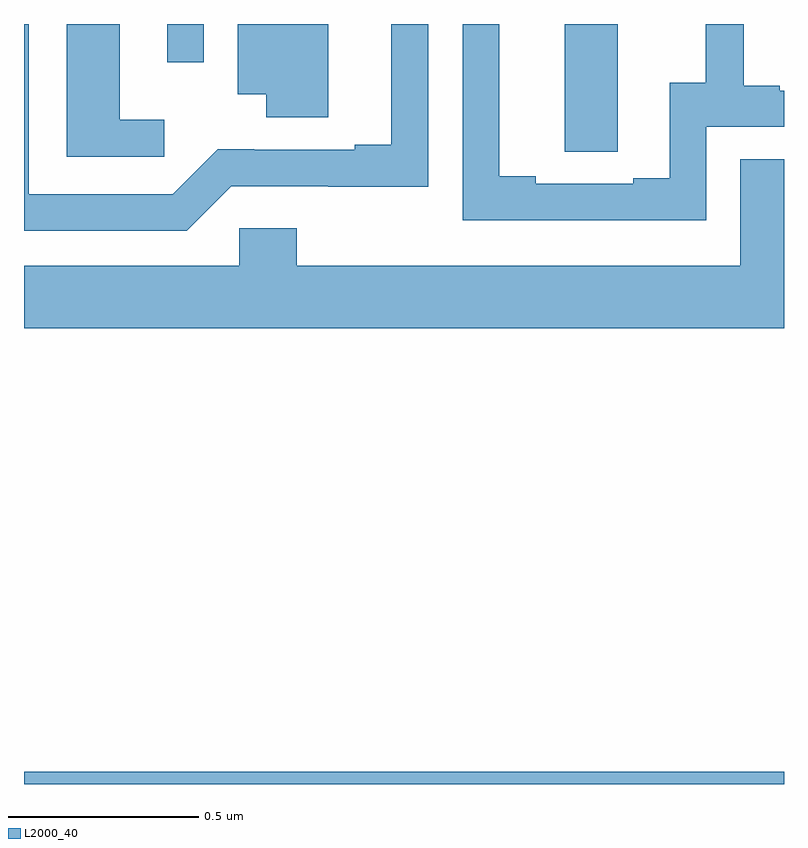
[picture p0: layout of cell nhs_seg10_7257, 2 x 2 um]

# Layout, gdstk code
import gdstk
lib = gdstk.Library(unit=1e-6, precision=1e-09)
def R(c, l, rs):  # rectangles x0, y0, x1, y1
    for r in rs: c.add(gdstk.rectangle(r[:2], r[2:], *l))
def P(c, l, *ps):  # polygons
    for p in ps: c.add(gdstk.Polygon(p, *l))
L2000_40 = (2000, 40)

nhs_seg10_7257 = lib.new_cell('nhs_seg10_7257')
R(nhs_seg10_7257, L2000_40, [(202,1248.5,204,1248.532), (202.377,1250.4,202.473,1250.5)])
P(nhs_seg10_7257, L2000_40, [(202.369,1250.248),(202.252,1250.248),(202.252,1250.5),(202.112,1250.5),(202.112,1250.151),(202.369,1250.151)],
  [(202.545,1250.073),(202.801,1250.073),(202.801,1250.072),(203.064,1250.072),(203.064,1250.5),(202.967,1250.5),(202.967,1250.182),(202.871,1250.182),(202.871,1250.169),(202.606,1250.169),(202.606,1250.17),(202.51,1250.17),(202.392,1250.052),(202.012,1250.052),(202.012,1250.5),(202,1250.5),(202,1249.956),(202.428,1249.956)],
  [(203.562,1250.272),(203.563,1250.272),(203.563,1250.5),(203.423,1250.5),(203.423,1250.164),(203.562,1250.164)],
  [(202.801,1250.5),(202.562,1250.5),(202.562,1250.315),(202.637,1250.315),(202.637,1250.254),(202.801,1250.254)],
  [(203.796,1250.229),(204,1250.229),(204,1250.325),(203.989,1250.325),(203.989,1250.338),(203.894,1250.338),(203.894,1250.5),(203.794,1250.5),(203.794,1250.345),(203.699,1250.345),(203.699,1250.094),(203.603,1250.094),(203.603,1250.079),(203.347,1250.079),(203.347,1250.099),(203.251,1250.099),(203.251,1250.5),(203.154,1250.5),(203.154,1249.983),(203.796,1249.983)],
  [(204,1250.144),(203.885,1250.144),(203.885,1249.864),(202.718,1249.864),(202.718,1249.962),(202.566,1249.962),(202.566,1249.864),(202,1249.864),(202,1249.7),(204,1249.7)])

lib.write_gds('nhs_seg10_7257.gds')
